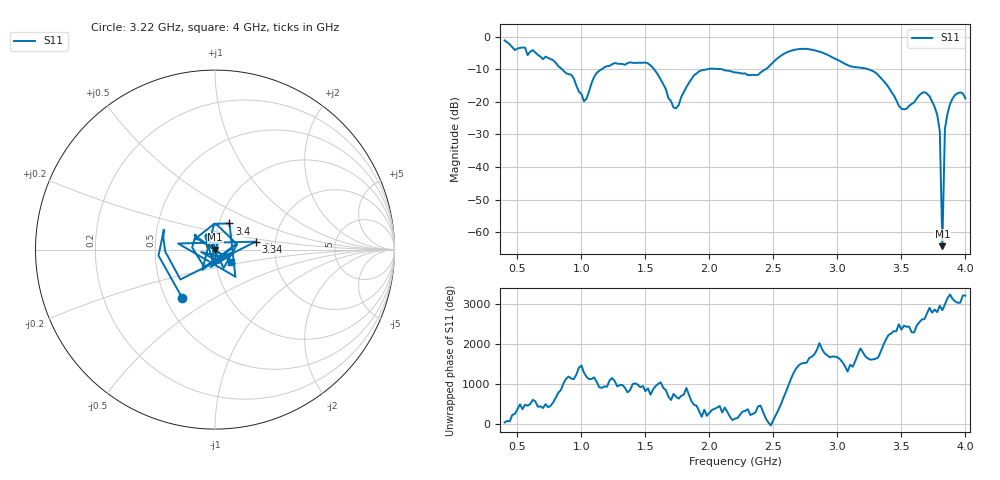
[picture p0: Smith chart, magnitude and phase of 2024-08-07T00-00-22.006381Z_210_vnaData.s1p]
!Created with skrf (http://scikit-rf.org).
# Hz S RI R 50.0
!freq ReS11 ImS11
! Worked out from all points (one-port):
!   181 points, 400 MHz to 4 GHz, reference 50 ohm
!   lowest |S11| = -64.2 dB at 3.82 GHz (marker M1), VSWR 1.00, Z = 50 - j0.0432 ohm
!   |S11| at or under -10 dB: 1.567 GHz to 1.988 GHz (420.5 MHz wide, 23.7 % of centre); 2.095 GHz to 2.44 GHz (345.5 MHz wide, 15.2 % of centre); 3.241 GHz to end of sweep (the widest 3 of 4)
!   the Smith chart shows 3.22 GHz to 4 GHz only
!   S11 on the Smith chart (normalised r, x): 3.22 GHz: 0.61, -0.36; 3.34 GHz: 1.58, +0.15; 3.4 GHz: 1.12, +0.34; 4 GHz: 1.18, -0.17
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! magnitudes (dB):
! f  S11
! 400 MHz  -1.2
! 860 MHz  -10.5
! 940 MHz  -12.8
! 1.02 GHz  -19.8
! 1.12 GHz  -11.1
! 1.3 GHz  -8.4
! 1.52 GHz  -8.2
! 1.6 GHz  -11.8
! 1.72 GHz  -21.8
! 1.76 GHz  -21.0
! 1.92 GHz  -10.6
! 2.2 GHz  -11.0
! 2.38 GHz  -11.8
! 2.66 GHz  -4.1
! 3.1 GHz  -9.1
! 3.22 GHz  -9.8
! 3.34 GHz  -12.7
! 3.4 GHz  -15.6
! 3.5 GHz  -22.1
! 3.56 GHz  -21.2
! 3.68 GHz  -17.0
! 3.78 GHz  -24.0
! 3.8 GHz  -29.0
! 3.82 GHz  -64.2
! 3.84 GHz  -28.3
! 3.9 GHz  -19.0
! 3.96 GHz  -17.1
! 4 GHz  -19.0
